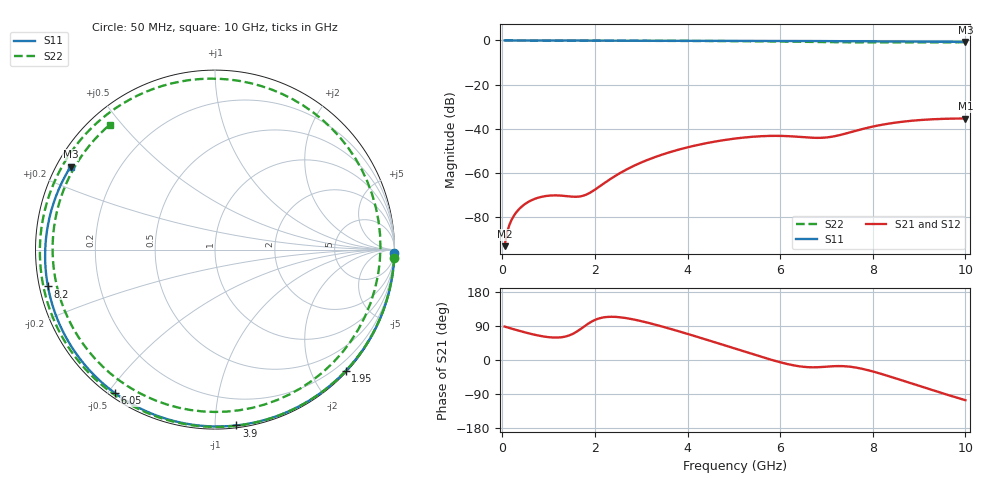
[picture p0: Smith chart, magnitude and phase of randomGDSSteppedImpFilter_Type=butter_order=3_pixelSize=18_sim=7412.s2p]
! freq	dB(S11)	phase(S11)	dB(S12)	phase(S12)
!  dB(S21)	phase(S21)	dB(S22)	phase(S22)
!S-par simulation data
#  GHz  S  DB  R 50
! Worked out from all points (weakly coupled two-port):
!   200 points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, 50 MHz to 10 GHz, reference 50 ohm
!   highest |S21| = -35.43 dB at 10 GHz (marker M1); lowest = -93.4 dB at 50 MHz (marker M2)
!   lowest |S11| = -0.7 dB at 10 GHz (marker M3), VSWR 26.68, Z = 2.01 + j13.3 ohm
!   |S11| at or under -10 dB: nowhere
!   |S22| runs from -0.9 to 0.0 dB; largest |S21 - S12| = 0
!   S11 on the Smith chart (normalised r, x): 50 MHz: open; 1.95 GHz: 0.02, -2.55; 3.9 GHz: 0.01, -1.13; 6.05 GHz: 0.02, -0.52; 8.2 GHz: 0.02, -0.11; 10 GHz: 0.04, +0.27
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0.05  -0.00 -1.1  -93.37 88.3  -93.37 88.3  -0.00 -2.6
0.25  -0.01 -5.6  -79.57 81.0  -79.57 81.0  -0.02 -12.7
0.5  -0.02 -11.2  -74.10 72.6  -74.10 72.6  -0.03 -25.3
0.8  -0.02 -17.8  -71.22 64.0  -71.22 64.0  -0.05 -40.2
1.75  -0.05 -38.6  -70.45 86.8  -70.45 86.8  -0.10 -84.8
1.95  -0.05 -42.9  -68.41 102.7  -68.41 102.7  -0.11 -93.6
2.6  -0.07 -56.6  -59.51 111.9  -59.51 111.9  -0.14 -121.1
3.4  -0.10 -73.0  -52.18 90.1  -52.18 90.1  -0.17 -153.6
3.9  -0.11 -83.1  -49.04 72.5  -49.04 72.5  -0.20 -174.1
4.5  -0.14 -94.9  -46.25 50.2  -46.25 50.2  -0.25 159.9
5.05  -0.16 -105.6  -44.46 29.1  -44.46 29.1  -0.31 133.1
5.6  -0.19 -116.2  -43.45 8.1  -43.45 8.1  -0.39 101.6
6.05  -0.22 -124.8  -43.34 -7.5  -43.34 -7.5  -0.48 70.4
6.35  -0.24 -130.6  -43.66 -15.4  -43.66 -15.4  -0.56 46.2
6.7  -0.27 -137.3  -44.16 -19.3  -44.16 -19.3  -0.66 14.8
7.05  -0.30 -144.2  -43.90 -17.2  -43.90 -17.2  -0.76 -19.2
7.5  -0.34 -153.1  -41.76 -17.6  -41.76 -17.6  -0.84 -62.9
7.85  -0.38 -160.2  -39.82 -25.5  -39.82 -25.5  -0.87 -94.5
8.2  -0.42 -167.6  -38.26 -37.2  -38.26 -37.2  -0.88 -122.8
8.35  -0.43 -170.8  -37.72 -42.9  -37.72 -42.9  -0.88 -133.9
9.1  -0.53 172.5  -36.01 -72.2  -36.01 -72.2  -0.87 177.8
10  -0.65 150.1  -35.43 -106.1  -35.43 -106.1  -0.82 130.1
